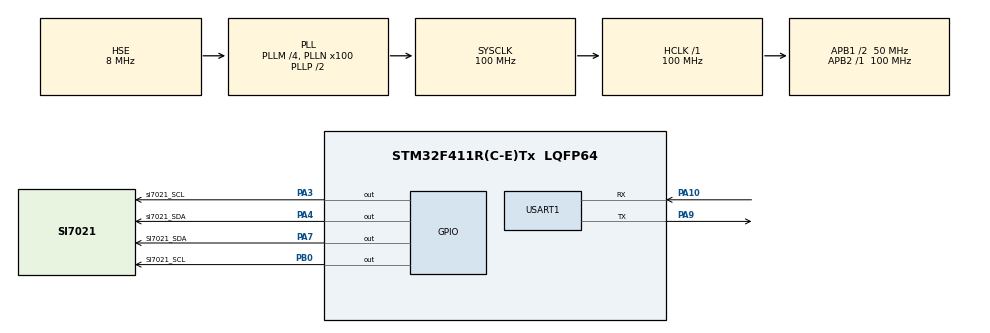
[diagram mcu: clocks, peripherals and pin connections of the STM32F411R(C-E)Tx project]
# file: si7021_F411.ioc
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Mcu.Family=STM32F4
Mcu.Name=STM32F411R(C-E)Tx
Mcu.Package=LQFP64
NVIC.PriorityGroup=NVIC_PRIORITYGROUP_4
NVIC.USART1_IRQn=true\:0\:0\:false\:false\:true\:true\:true\:true
PA10.Mode=Asynchronous
PA10.Signal=USART1_RX
PA13.Mode=Serial_Wire
PA13.Signal=SYS_JTMS-SWDIO
PA14.Mode=Serial_Wire
PA14.Signal=SYS_JTCK-SWCLK
PA3.GPIO_Label=si7021_SCL
PA3.GPIO_PuPd=GPIO_PULLUP
PA3.GPIO_Speed=GPIO_SPEED_FREQ_VERY_HIGH
PA3.PinState=GPIO_PIN_SET
PA3.Signal=GPIO_Output
PA4.GPIO_Label=si7021_SDA
PA4.GPIO_ModeDefaultOutputPP=GPIO_MODE_OUTPUT_OD
PA4.GPIO_PuPd=GPIO_PULLUP
PA4.GPIO_Speed=GPIO_SPEED_FREQ_VERY_HIGH
PA4.PinState=GPIO_PIN_SET
PA4.Signal=GPIO_Output
PA7.GPIO_Label=SI7021_SDA
PA7.GPIO_ModeDefaultOutputPP=GPIO_MODE_OUTPUT_OD
PA7.GPIO_PuPd=GPIO_PULLUP
PA7.GPIO_Speed=GPIO_SPEED_FREQ_VERY_HIGH
PA7.PinState=GPIO_PIN_SET
PA7.Signal=GPIO_Output
PA9.Mode=Asynchronous
PA9.Signal=USART1_TX
PB0.GPIO_Label=SI7021_SCL
PB0.GPIO_ModeDefaultOutputPP=GPIO_MODE_OUTPUT_PP
PB0.GPIO_PuPd=GPIO_PULLUP
PB0.GPIO_Speed=GPIO_SPEED_FREQ_VERY_HIGH
PB0.PinState=GPIO_PIN_SET
PB0.Signal=GPIO_Output
PH0\ -\ OSC_IN.Mode=HSE-External-Oscillator
PH0\ -\ OSC_IN.Signal=RCC_OSC_IN
PH1\ -\ OSC_OUT.Mode=HSE-External-Oscillator
PH1\ -\ OSC_OUT.Signal=RCC_OSC_OUT
ProjectManager.HeapSize=0x200
ProjectManager.StackSize=0x400
ProjectManager.TargetToolchain=STM32CubeIDE
RCC.48MHZClocksFreq_Value=50000000
RCC.AHBFreq_Value=100000000
RCC.APB1CLKDivider=RCC_HCLK_DIV2
RCC.APB1Freq_Value=50000000
RCC.APB1TimFreq_Value=100000000
RCC.APB2Freq_Value=100000000
RCC.APB2TimFreq_Value=100000000
RCC.CortexFreq_Value=100000000
RCC.HCLKFreq_Value=100000000
RCC.HSE_VALUE=8000000
RCC.HSI_VALUE=16000000
RCC.LSE_VALUE=32768
RCC.PLLM=4
RCC.PLLN=100
RCC.PLLSourceVirtual=RCC_PLLSOURCE_HSE
RCC.SYSCLKFreq_VALUE=100000000
RCC.SYSCLKSource=RCC_SYSCLKSOURCE_PLLCLK
RCC.VCOOutputFreq_Value=200000000
TIM10.Prescaler=9999
TIM11.Prescaler=99
USART1.VirtualMode=VM_ASYNC
VP_TIM10_VS_ClockSourceINT.Mode=Enable_Timer
VP_TIM11_VS_ClockSourceINT.Mode=Enable_Timer
board=custom

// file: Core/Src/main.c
/* USER CODE BEGIN Header */
/**
  ******************************************************************************
  * @file           : main.c
  * @brief          : Main program body
  ******************************************************************************
  * @attention
  *
  * Copyright (c) 2023 STMicroelectronics.
  * All rights reserved.
  *
  * This software is licensed under terms that can be found in the LICENSE file
  * in the root directory of this software component.
  * If no LICENSE file comes with this software, it is provided AS-IS.
  *
  ******************************************************************************
  */
/* USER CODE END Header */
#include "main.h"

/* USER CODE BEGIN Includes */
#include "stdbool.h"
#include "stdio.h"
#include "SI7021.h"
#include "State_Machine.h"
/* USER CODE END Includes */

TIM_HandleTypeDef htim10;
TIM_HandleTypeDef htim11;

UART_HandleTypeDef huart1;

/* USER CODE BEGIN PV */
uint8_t Receive_Flag = 0;	// 接收信息判断
volatile bool Flag = false;    //启动标记
/* USER CODE END PV */

void SystemClock_Config(void);
static void MX_GPIO_Init(void);
static void MX_TIM10_Init(void);
static void MX_TIM11_Init(void);
static void MX_USART1_UART_Init(void);

/* USER CODE BEGIN 0 */
#ifdef __GNUC__
#define PUTCHAR_PROTOTYPE int __io_putchar(int ch)
#else
#define PUTCHAR_PROTOTYPE int fputc(int ch, FILE *f)
#endif
PUTCHAR_PROTOTYPE
{
 HAL_UART_Transmit(&huart1,(uint8_t*)&ch, 1, 0xFFFF);
 return ch;
 }
/* USER CODE END 0 */

int main(void)
{

  /* MCU Configuration--------------------------------------------------------*/

  /* Reset of all peripherals, Initializes the Flash interface and the Systick. */
  HAL_Init();

  /* Configure the system clock */
  SystemClock_Config();

  /* Initialize all configured peripherals */
  MX_GPIO_Init();
  MX_TIM10_Init();
  MX_TIM11_Init();
  MX_USART1_UART_Init();
  /* USER CODE BEGIN 2 */
	HAL_Delay(1000);
	HAL_Delay(1000);

	printf("start init\r\n");

	SYSTEM_STATE_Init();
	HAL_UART_Receive_IT(&huart1, &Receive_Flag, 1);	// 启动接收中断
	si7021_init();

	printf("Initialization complete \r\n");
  /* USER CODE END 2 */

  /* Infinite loop */
  while (1)
  {

    /* USER CODE BEGIN 3 */
	if (Flag)
	{
		printf("start \r\n");
		Flag = Detection_Task();
		HAL_Delay(1000);
	}
  }
  /* USER CODE END 3 */
}

void SystemClock_Config(void)
{
  RCC_OscInitTypeDef RCC_OscInitStruct = {0};
  RCC_ClkInitTypeDef RCC_ClkInitStruct = {0};

  /** Configure the main internal regulator output voltage
  */
  __HAL_RCC_PWR_CLK_ENABLE();
  __HAL_PWR_VOLTAGESCALING_CONFIG(PWR_REGULATOR_VOLTAGE_SCALE1);

  /** Initializes the RCC Oscillators according to the specified parameters
  * in the RCC_OscInitTypeDef structure.
  */
  RCC_OscInitStruct.OscillatorType = RCC_OSCILLATORTYPE_HSE;
  RCC_OscInitStruct.HSEState = RCC_HSE_ON;
  RCC_OscInitStruct.PLL.PLLState = RCC_PLL_ON;
  RCC_OscInitStruct.PLL.PLLSource = RCC_PLLSOURCE_HSE;
  RCC_OscInitStruct.PLL.PLLM = 4;
  RCC_OscInitStruct.PLL.PLLN = 100;
  RCC_OscInitStruct.PLL.PLLP = RCC_PLLP_DIV2;
  RCC_OscInitStruct.PLL.PLLQ = 4;
  if (HAL_RCC_OscConfig(&RCC_OscInitStruct) != HAL_OK)
  {
    Error_Handler();
  }

  /** Initializes the CPU, AHB and APB buses clocks
  */
  RCC_ClkInitStruct.ClockType = RCC_CLOCKTYPE_HCLK|RCC_CLOCKTYPE_SYSCLK
                              |RCC_CLOCKTYPE_PCLK1|RCC_CLOCKTYPE_PCLK2;
  RCC_ClkInitStruct.SYSCLKSource = RCC_SYSCLKSOURCE_PLLCLK;
  RCC_ClkInitStruct.AHBCLKDivider = RCC_SYSCLK_DIV1;
  RCC_ClkInitStruct.APB1CLKDivider = RCC_HCLK_DIV2;
  RCC_ClkInitStruct.APB2CLKDivider = RCC_HCLK_DIV1;

  if (HAL_RCC_ClockConfig(&RCC_ClkInitStruct, FLASH_LATENCY_3) != HAL_OK)
  {
    Error_Handler();
  }
}

static void MX_TIM10_Init(void)
{

  htim10.Instance = TIM10;
  htim10.Init.Prescaler = 9999;
  htim10.Init.CounterMode = TIM_COUNTERMODE_UP;
  htim10.Init.Period = 65535;
  htim10.Init.ClockDivision = TIM_CLOCKDIVISION_DIV1;
  htim10.Init.AutoReloadPreload = TIM_AUTORELOAD_PRELOAD_DISABLE;
  if (HAL_TIM_Base_Init(&htim10) != HAL_OK)
  {
    Error_Handler();
  }

}

static void MX_TIM11_Init(void)
{

  htim11.Instance = TIM11;
  htim11.Init.Prescaler = 99;
  htim11.Init.CounterMode = TIM_COUNTERMODE_UP;
  htim11.Init.Period = 65535;
  htim11.Init.ClockDivision = TIM_CLOCKDIVISION_DIV1;
  htim11.Init.AutoReloadPreload = TIM_AUTORELOAD_PRELOAD_DISABLE;
  if (HAL_TIM_Base_Init(&htim11) != HAL_OK)
  {
    Error_Handler();
  }

}

static void MX_USART1_UART_Init(void)
{

  huart1.Instance = USART1;
  huart1.Init.BaudRate = 115200;
  huart1.Init.WordLength = UART_WORDLENGTH_8B;
  huart1.Init.StopBits = UART_STOPBITS_1;
  huart1.Init.Parity = UART_PARITY_NONE;
  huart1.Init.Mode = UART_MODE_TX_RX;
  huart1.Init.HwFlowCtl = UART_HWCONTROL_NONE;
  huart1.Init.OverSampling = UART_OVERSAMPLING_16;
  if (HAL_UART_Init(&huart1) != HAL_OK)
  {
    Error_Handler();
  }

}

static void MX_GPIO_Init(void)
{
  GPIO_InitTypeDef GPIO_InitStruct = {0};

  /* GPIO Ports Clock Enable */
  __HAL_RCC_GPIOH_CLK_ENABLE();
  __HAL_RCC_GPIOA_CLK_ENABLE();
  __HAL_RCC_GPIOB_CLK_ENABLE();

  /*Configure GPIO pin Output Level */
  HAL_GPIO_WritePin(GPIOA, si7021_SCL_Pin|si7021_SDA_Pin|SI7021_SDA_Pin, GPIO_PIN_SET);

  /*Configure GPIO pin Output Level */
  HAL_GPIO_WritePin(SI7021_SCL_GPIO_Port, SI7021_SCL_Pin, GPIO_PIN_SET);

  /*Configure GPIO pin : si7021_SCL_Pin */
  GPIO_InitStruct.Pin = si7021_SCL_Pin;
  GPIO_InitStruct.Mode = GPIO_MODE_OUTPUT_PP;
  GPIO_InitStruct.Pull = GPIO_PULLUP;
  GPIO_InitStruct.Speed = GPIO_SPEED_FREQ_VERY_HIGH;
  HAL_GPIO_Init(si7021_SCL_GPIO_Port, &GPIO_InitStruct);

  /*Configure GPIO pins : si7021_SDA_Pin SI7021_SDA_Pin */
  GPIO_InitStruct.Pin = si7021_SDA_Pin|SI7021_SDA_Pin;
  GPIO_InitStruct.Mode = GPIO_MODE_OUTPUT_OD;
  GPIO_InitStruct.Pull = GPIO_PULLUP;
  GPIO_InitStruct.Speed = GPIO_SPEED_FREQ_VERY_HIGH;
  HAL_GPIO_Init(GPIOA, &GPIO_InitStruct);

  /*Configure GPIO pin : SI7021_SCL_Pin */
  GPIO_InitStruct.Pin = SI7021_SCL_Pin;
  GPIO_InitStruct.Mode = GPIO_MODE_OUTPUT_PP;
  GPIO_InitStruct.Pull = GPIO_PULLUP;
  GPIO_InitStruct.Speed = GPIO_SPEED_FREQ_VERY_HIGH;
  HAL_GPIO_Init(SI7021_SCL_GPIO_Port, &GPIO_InitStruct);

}

/* USER CODE BEGIN 4 */
// 串口中断回调函数
void HAL_UART_RxCpltCallback(UART_HandleTypeDef *huart) {
	if (huart->Instance == USART1) {
		if (0xAA == Receive_Flag) {
			Flag = true;
			Receive_Flag = 0;
		}
		else {
			Flag = false;
			Receive_Flag = 0;

		}
		HAL_UART_Receive_IT(huart, &Receive_Flag, 1);
	}
}
/* USER CODE END 4 */

void Error_Handler(void)
{
  __disable_irq();
  while (1)
  {
  }
}
